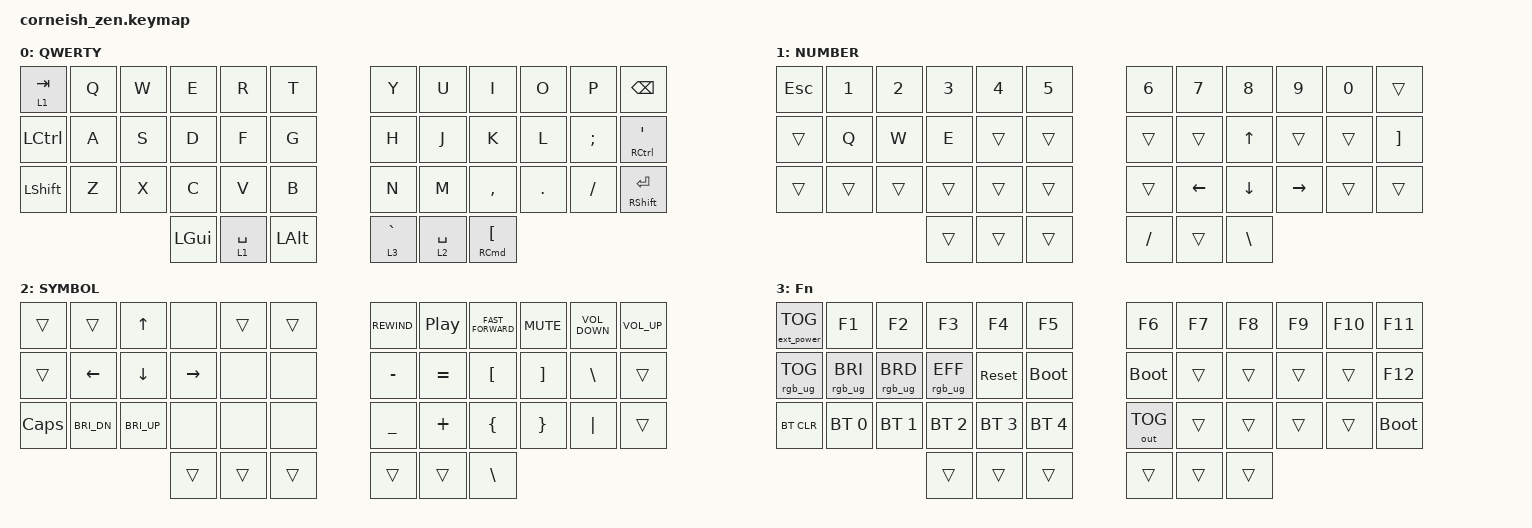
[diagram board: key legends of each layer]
/*
 * Copyright (c) 2020 The ZMK Contributors
 *
 * SPDX-License-Identifier: MIT
 */

#include <behaviors.dtsi>
#include <dt-bindings/zmk/bt.h>
#include <dt-bindings/zmk/ext_power.h>
#include <dt-bindings/zmk/keys.h>
#include <dt-bindings/zmk/outputs.h>
#include <dt-bindings/zmk/rgb.h>

/ {
    chosen {
        zmk,matrix_transform = &default_transform;

        // zmk,matrix_transform = &five_column_transform;
    };
};

/ {
    behaviors {
        td0: td0 {
            compatible = "zmk,behavior-tap-dance";
            label = "TD0";
            #binding-cells = <0>;
            bindings = <&kp LEFT_SHIFT>, <&kp CAPS>;
        };
    };

    keymap {
        compatible = "zmk,keymap";

        default_layer {
            display-name = "QWERTY";

            // --------------------------------------------------------------------------------
            // |  TAB |  Q  |  W  |  E  |  R  |  T  |   |  Y  |  U   |  I  |  O  |  P  | BKSP |
            // | CTRL |  A  |  S  |  D  |  F  |  G  |   |  H  |  J   |  K  |  L  |  ;  |  '   | 
            // | SHFT |  Z  |  X  |  C  |  V  |  B  |   |  N  |  M   |  ,  |  .  |  /  | ESC  |
            //                    | GUI | LWR | SPC |   | ENT | RSE  | ALT |

            bindings = <
&lt 1 TAB   &kp Q  &kp W  &kp E     &kp R        &kp T           &kp Y        &kp U        &kp I                           &kp O    &kp P     &kp BSPC
&kp LCTRL   &kp A  &kp S  &kp D     &kp F        &kp G           &kp H        &kp J        &kp K                           &kp L    &kp SEMI  &mt RCTRL SQT
&kp LSHIFT  &kp Z  &kp X  &kp C     &kp V        &kp B           &kp N        &kp M        &kp COMMA                       &kp DOT  &kp FSLH  &mt RSHIFT ENTER
                          &kp LGUI  &lt 1 SPACE  &kp LEFT_ALT    &lt 3 GRAVE  &lt 2 SPACE  &mt RIGHT_COMMAND LEFT_BRACKET
            >;
        };

        lower_layer {
            display-name = "NUMBER";

            // -----------------------------------------------------------------------------------------
            // |  TAB |  1  |  2  |  3  |  4  |  5  |   |  6  |  7  |  8  |  9  |  0  | BKSP |
            // | BTCLR| BT1 | BT2 | BT3 | BT4 | BT5 |   | LFT | DWN |  UP | RGT |     |      |
            // | SHFT |     |     |     |     |     |   |     |     |     |     |     |      |
            //                    | GUI |     | SPC |   | ENT |     | ALT |

            bindings = <
&kp ESC  &kp N1  &kp N2  &kp N3  &kp N4  &kp N5    &kp N6     &kp N7    &kp N8         &kp N9     &kp N0  &trans
&trans   &kp Q   &kp W   &kp E   &trans  &trans    &trans     &trans    &kp UP         &trans     &trans  &kp RIGHT_BRACKET
&trans   &trans  &trans  &trans  &trans  &trans    &trans     &kp LEFT  &kp DOWN       &kp RIGHT  &trans  &trans
                         &trans  &trans  &trans    &kp SLASH  &trans    &kp BACKSLASH
            >;
        };

        raise_layer {
            display-name = "SYMBOL";

            // -----------------------------------------------------------------------------------------
            // |  TAB |  !  |  @  |  #  |  $  |  %  |   |  ^  |  &  |  *  |  (  |  )  | BKSP |
            // | CTRL |     |     |     |     |     |   |  -  |  =  |  [  |  ]  |  \  |  `   |
            // | SHFT |     |     |     |     |     |   |  _  |  +  |  {  |  }  | "|" |  ~   |
            //                    | GUI |     | SPC |   | ENT |     | ALT |

            bindings = <
&trans        &trans        &kp UP_ARROW  &none      &trans  &trans    &kp C_REWIND  &kp C_PLAY_PAUSE  &kp C_FAST_FORWARD  &kp C_MUTE  &kp C_VOLUME_DOWN  &kp C_VOLUME_UP
&trans        &kp LEFT      &kp DOWN      &kp RIGHT  &none   &none     &kp MINUS     &kp EQUAL         &kp LBKT            &kp RBKT    &kp BSLH           &trans
&kp CAPSLOCK  &kp C_BRI_DN  &kp C_BRI_UP  &none      &none   &none     &kp UNDER     &kp PLUS          &kp LBRC            &kp RBRC    &kp PIPE           &trans
                                          &trans     &trans  &trans    &trans        &trans            &kp BACKSLASH
            >;
        };

        layer_3 {
            display-name = "Fn";
            bindings = <
&ext_power EP_TOG  &kp F1           &kp F2           &kp F3           &kp F4        &kp F5          &kp F6        &kp F7  &kp F8  &kp F9  &kp F10  &kp F11
&rgb_ug RGB_TOG    &rgb_ug RGB_BRI  &rgb_ug RGB_BRD  &rgb_ug RGB_EFF  &sys_reset    &bootloader     &bootloader   &trans  &trans  &trans  &trans   &kp F12
&bt BT_CLR         &bt BT_SEL 0     &bt BT_SEL 1     &bt BT_SEL 2     &bt BT_SEL 3  &bt BT_SEL 4    &out OUT_TOG  &trans  &trans  &trans  &trans   &bootloader
                                                     &trans           &trans        &trans          &trans        &trans  &trans
            >;
        };
    };
};
